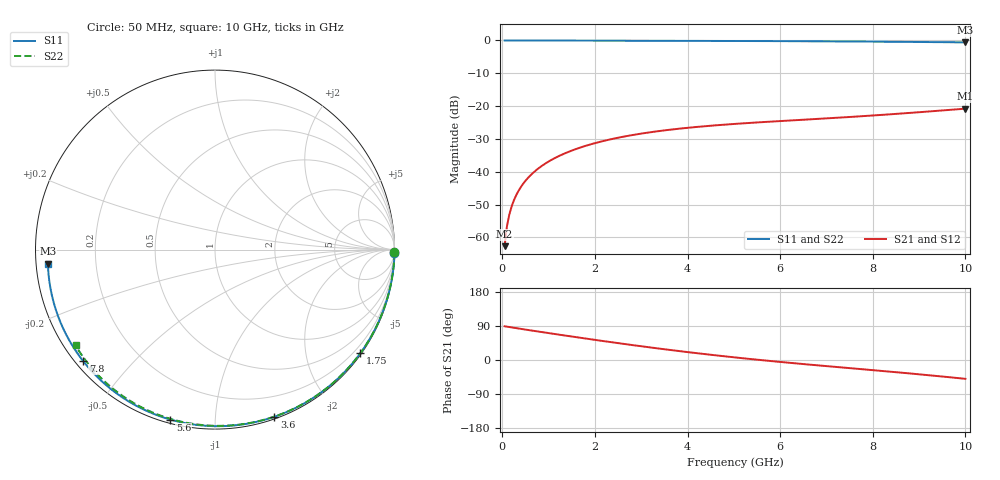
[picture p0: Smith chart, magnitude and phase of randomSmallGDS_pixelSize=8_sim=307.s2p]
! freq	dB(S11)	phase(S11)	dB(S12)	phase(S12)
!  dB(S21)	phase(S21)	dB(S22)	phase(S22)
!S-par simulation data
#  GHz  S  DB  R 50
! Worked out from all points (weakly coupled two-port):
!   200 points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, 50 MHz to 10 GHz, reference 50 ohm
!   highest |S21| = -20.78 dB at 10 GHz (marker M1); lowest = -62.7 dB at 50 MHz (marker M2)
!   lowest |S11| = -0.6 dB at 10 GHz (marker M3), VSWR 29.51, Z = 1.7 - j2.12 ohm
!   |S11| at or under -10 dB: nowhere
!   |S22| runs from -0.5 to 0.0 dB; largest |S21 - S12| = 0
!   S11 on the Smith chart (normalised r, x): 50 MHz: open; 1.75 GHz: 0.03, -3.13; 3.6 GHz: 0.02, -1.42; 5.6 GHz: 0.02, -0.77; 7.8 GHz: 0.02, -0.37; 10 GHz: 0.03, -0.04
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0.05  -0.00 -1.0  -62.67 89.0  -62.67 89.0  -0.00 -0.9
0.1  -0.00 -2.1  -56.65 88.0  -56.65 88.0  -0.00 -1.7
0.15  -0.00 -3.1  -53.14 87.0  -53.14 87.0  -0.00 -2.6
0.2  -0.00 -4.1  -50.65 86.0  -50.65 86.0  -0.00 -3.4
0.25  -0.00 -5.2  -48.72 85.0  -48.72 85.0  -0.00 -4.3
0.35  -0.01 -7.2  -45.82 83.1  -45.82 83.1  -0.00 -6.0
0.5  -0.01 -10.3  -42.76 80.2  -42.76 80.2  -0.01 -8.6
0.7  -0.02 -14.4  -39.89 76.5  -39.89 76.5  -0.01 -12.0
1  -0.03 -20.5  -36.88 71.0  -36.88 71.0  -0.02 -17.1
1.35  -0.04 -27.5  -34.40 64.6  -34.40 64.6  -0.03 -23.0
1.75  -0.05 -35.4  -32.32 57.5  -32.32 57.5  -0.04 -29.6
2.6  -0.07 -51.9  -29.35 42.8  -29.35 42.8  -0.06 -43.5
3.4  -0.09 -66.8  -27.57 29.9  -27.57 29.9  -0.08 -56.1
3.6  -0.10 -70.4  -27.22 26.8  -27.22 26.8  -0.09 -59.2
4.3  -0.13 -82.8  -26.22 16.6  -26.22 16.6  -0.11 -69.8
5.05  -0.16 -95.7  -25.39 6.5  -25.39 6.5  -0.13 -80.7
5.6  -0.18 -104.8  -24.89 -0.4  -24.89 -0.4  -0.16 -88.5
6.7  -0.25 -122.5  -23.99 -12.9  -23.99 -12.9  -0.21 -103.4
7.8  -0.34 -139.8  -23.05 -24.6  -23.05 -24.6  -0.29 -117.8
8.35  -0.39 -148.4  -22.53 -30.5  -22.53 -30.5  -0.33 -124.8
9.2  -0.48 -161.9  -21.65 -40.0  -21.65 -40.0  -0.42 -135.5
10  -0.59 -175.1  -20.78 -49.7  -20.78 -49.7  -0.51 -145.5
